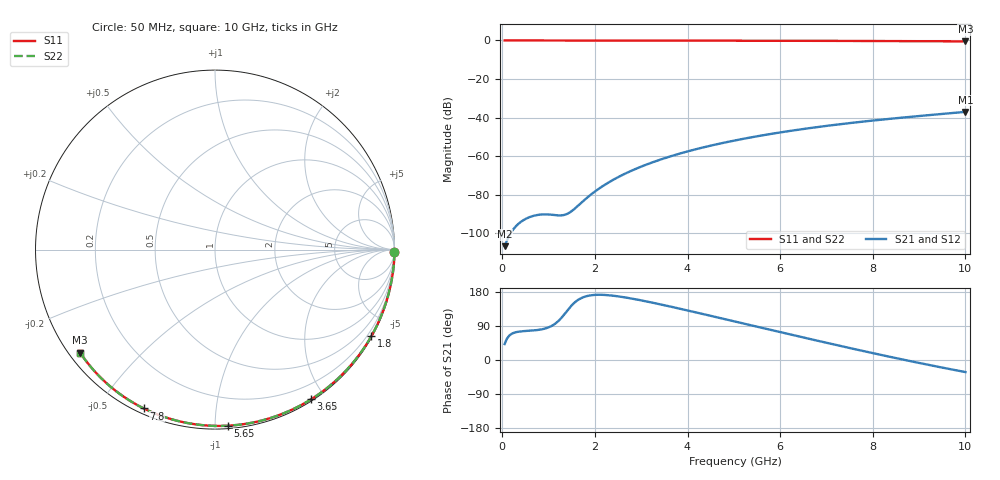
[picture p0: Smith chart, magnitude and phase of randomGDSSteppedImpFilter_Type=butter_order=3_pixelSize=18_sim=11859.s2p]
! freq	dB(S11)	phase(S11)	dB(S12)	phase(S12)
!  dB(S21)	phase(S21)	dB(S22)	phase(S22)
!S-par simulation data
#  GHz  S  DB  R 50
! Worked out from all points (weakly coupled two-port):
!   200 points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, 50 MHz to 10 GHz, reference 50 ohm
!   highest |S21| = -37.04 dB at 10 GHz (marker M1); lowest = -106.7 dB at 50 MHz (marker M2)
!   lowest |S11| = -0.5 dB at 10 GHz (marker M3), VSWR 35.81, Z = 1.56 - j16.9 ohm
!   |S11| at or under -10 dB: nowhere
!   |S22| runs from -0.5 to 0.0 dB; largest |S21 - S12| = 0
!   S11 on the Smith chart (normalised r, x): 50 MHz: open; 1.8 GHz: 0.03, -3.87; 3.65 GHz: 0.02, -1.83; 5.65 GHz: 0.02, -1.08; 7.8 GHz: 0.02, -0.65; 10 GHz: 0.03, -0.34
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0.05  -0.00 -0.8  -106.71 42.1  -106.71 42.1  -0.00 -0.8
0.45  -0.01 -7.3  -93.30 76.1  -93.30 76.1  -0.01 -7.3
0.9  -0.02 -14.6  -90.21 82.3  -90.21 82.3  -0.02 -14.6
1.75  -0.04 -28.2  -83.25 165.7  -83.25 165.7  -0.04 -28.2
1.8  -0.04 -28.9  -82.20 167.8  -82.20 167.8  -0.04 -28.9
1.9  -0.04 -30.5  -80.21 170.5  -80.21 170.5  -0.04 -30.5
2.25  -0.05 -36.0  -74.31 171.4  -74.31 171.4  -0.05 -36.0
2.45  -0.05 -39.1  -71.55 168.8  -71.55 168.8  -0.05 -39.1
2.65  -0.05 -42.2  -69.11 165.2  -69.11 165.2  -0.05 -42.2
3  -0.06 -47.5  -65.43 157.3  -65.43 157.3  -0.06 -47.5
3.4  -0.07 -53.5  -61.90 147.2  -61.90 147.2  -0.07 -53.5
3.65  -0.08 -57.3  -59.98 140.4  -59.98 140.4  -0.08 -57.3
4.3  -0.09 -66.8  -55.70 122.3  -55.70 122.3  -0.09 -66.8
5.05  -0.12 -77.4  -51.74 100.8  -51.74 100.8  -0.12 -77.4
5.65  -0.14 -85.7  -49.09 83.6  -49.09 83.6  -0.14 -85.7
6.15  -0.16 -92.5  -47.15 69.4  -47.15 69.4  -0.16 -92.5
6.7  -0.19 -99.8  -45.26 53.8  -45.26 53.8  -0.19 -99.8
7.25  -0.23 -107.0  -43.58 38.5  -43.58 38.5  -0.23 -107.0
7.8  -0.27 -114.2  -42.06 23.5  -42.06 23.5  -0.27 -114.2
8.35  -0.31 -121.2  -40.69 8.9  -40.69 8.9  -0.31 -121.2
9.15  -0.38 -131.5  -38.87 -11.5  -38.87 -11.5  -0.38 -131.5
10  -0.49 -142.7  -37.04 -31.9  -37.04 -31.9  -0.49 -142.7
